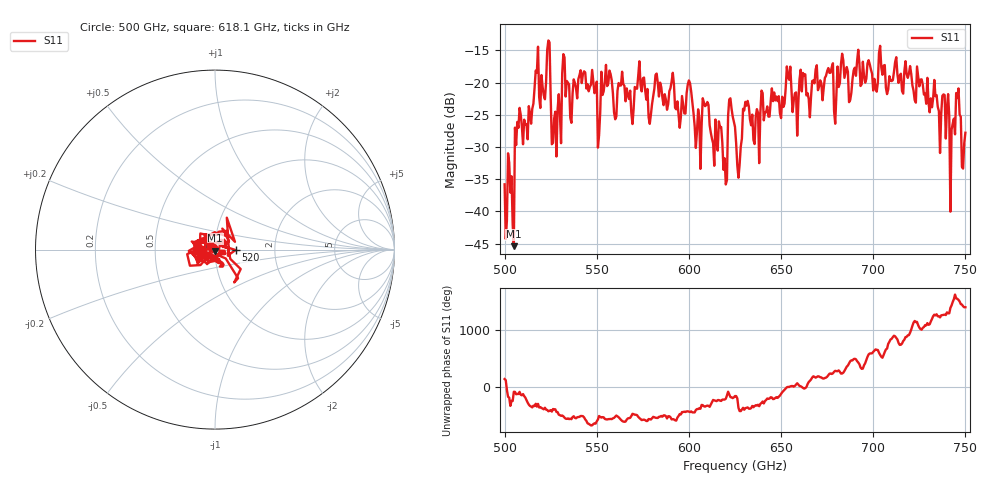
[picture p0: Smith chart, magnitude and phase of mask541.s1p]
!Created with skrf (http://scikit-rf.org).
# GHz S MA R 50.0
!freq magS11 angS11
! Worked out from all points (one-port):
!   401 points, 500 GHz to 750 GHz, reference 50 ohm
!   lowest |S11| = -45.4 dB at 505 GHz (marker M1), VSWR 1.01, Z = 50.1 - j0.529 ohm
!   |S11| at or under -10 dB: start of sweep to end of sweep
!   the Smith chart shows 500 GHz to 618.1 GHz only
!   S11 on the Smith chart (normalised r, x): 500 GHz: 0.97, +0.02; 520 GHz: 1.26, -0.01; 618.1 GHz: 0.95, +0.04
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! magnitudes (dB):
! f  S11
! 500 GHz  -35.8
! 505 GHz  -45.4
! 506.9 GHz  -26.1
! 520 GHz  -18.8
! 523.8 GHz  -13.5
! 526.9 GHz  -25.6
! 531.2 GHz  -18.6
! 542.5 GHz  -18.7
! 550.6 GHz  -30.1
! 562.5 GHz  -20.5
! 593.8 GHz  -22.9
! 600 GHz  -19.7
! 605 GHz  -24.2
! 608.8 GHz  -23.7
! 618.1 GHz  -29.3
! 619.4 GHz  -31.8
! 622.5 GHz  -22.4
! 625 GHz  -26.9
! 626.9 GHz  -34.8
! 630.6 GHz  -23.0
! 636.9 GHz  -24.1
! 656.2 GHz  -24.6
! 687.5 GHz  -22.7
! 718.8 GHz  -19.3
! 739.4 GHz  -28.7
! 743.1 GHz  -26.4
! 746.2 GHz  -20.9
! 750 GHz  -27.8
